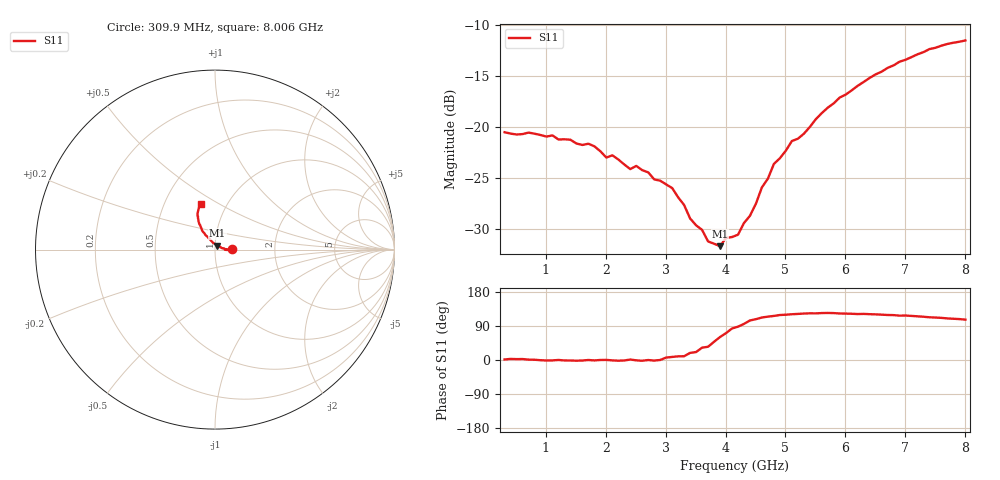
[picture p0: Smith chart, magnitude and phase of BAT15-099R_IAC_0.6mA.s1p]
! Infineon Technologies  Discrete & RF Semiconductors
! BAT15-099R
! IAC = 0.6 mA
! One-Port S-Parameters
# Hz  S  MA  R  50
!f  S11
!Hz  Mag  Ang
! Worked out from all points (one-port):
!   78 points, 309.9 MHz to 8.006 GHz, reference 50 ohm
!   lowest |S11| = -31.7 dB at 3.908 GHz (marker M1), VSWR 1.05, Z = 51.2 + j2.33 ohm
!   |S11| at or under -10 dB: start of sweep to end of sweep
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3.0985e8  0.09415 1.4
1.30935e9  0.08695 -1.2
1.70915e9  0.08271 -0.0
2.009e9  0.07078 0.2
2.10895e9  0.0726 -1.0
2.30885e9  0.06547 -1.3
2.4088e9  0.06215 1.3
2.50875e9  0.06443 -0.9
2.70865e9  0.0599 -0.1
2.8086e9  0.05537 -1.6
3.10845e9  0.05023 8.1
3.2084e9  0.04526 9.6
3.30835e9  0.04147 10.0
3.4083e9  0.03565 18.8
3.6082e9  0.03136 32.5
3.70815e9  0.02754 35.0
3.90805e9  0.02611 60.6
4.008e9  0.02867 70.9
4.2079e9  0.0297 87.9
4.4078e9  0.03677 104.3
4.8076e9  0.06589 116.3
5.10745e9  0.08523 120.8
5.2074e9  0.08749 121.6
5.70715e9  0.1241 124.2
6.10695e9  0.1508 122.0
6.50675e9  0.1805 120.4
7.10645e9  0.2193 116.3
8.006e9  0.2644 106.5
